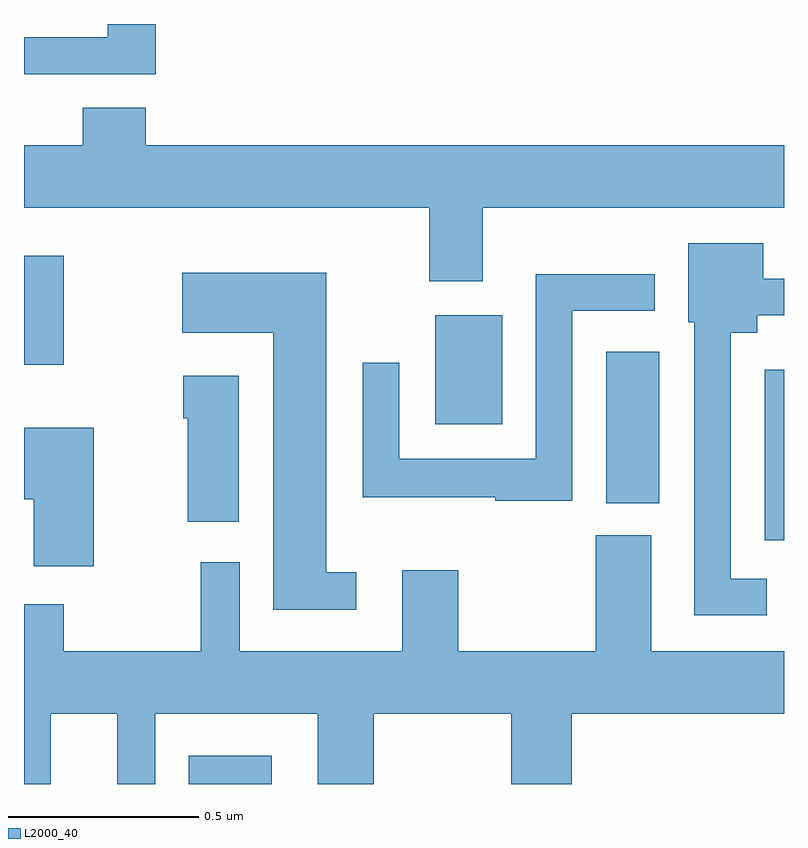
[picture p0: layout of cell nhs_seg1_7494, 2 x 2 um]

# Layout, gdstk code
import gdstk
lib = gdstk.Library(unit=1e-6, precision=1e-09)
def R(c, l, rs):  # rectangles x0, y0, x1, y1
    for r in rs: c.add(gdstk.rectangle(r[:2], r[2:], *l))
def P(c, l, *ps):  # polygons
    for p in ps: c.add(gdstk.Polygon(p, *l))
L2000_40 = (2000, 40)

nhs_seg1_7494 = lib.new_cell('nhs_seg1_7494')
R(nhs_seg1_7494, L2000_40, [(204.434,566.199,204.652,566.274), (205.949,566.841,206,567.289), (205.532,566.938,205.672,567.337), (205.082,567.146,205.258,567.433), (204,567.302,204.105,567.589)])
P(nhs_seg1_7494, L2000_40, [(204.347,568.199),(204.221,568.199),(204.221,568.164),(204,568.164),(204,568.067),(204.347,568.067)],
  [(205.207,567.716),(206,567.716),(206,567.88),(204.32,567.88),(204.32,567.979),(204.155,567.979),(204.155,567.88),(204,567.88),(204,567.716),(205.067,567.716),(205.067,567.522),(205.207,567.522)],
  [(205.954,566.739),(205.86,566.739),(205.86,567.386),(205.93,567.386),(205.93,567.432),(206,567.432),(206,567.528),(205.945,567.528),(205.945,567.622),(205.748,567.622),(205.748,567.414),(205.764,567.414),(205.764,566.643),(205.954,566.643)],
  [(204.874,566.756),(204.796,566.756),(204.796,567.544),(204.416,567.544),(204.416,567.386),(204.656,567.386),(204.656,566.658),(204.874,566.658)],
  [(205.443,567.444),(205.66,567.444),(205.66,567.541),(205.347,567.541),(205.347,567.055),(204.987,567.055),(204.987,567.307),(204.891,567.307),(204.891,566.954),(205.24,566.954),(205.24,566.944),(205.443,566.944)],
  [(204.565,567.274),(204.419,567.274),(204.419,567.161),(204.431,567.161),(204.431,566.889),(204.565,566.889)],
  [(204.184,567.136),(204,567.136),(204,566.948),(204.026,566.948),(204.026,566.772),(204.184,566.772)],
  [(204.07,566.384),(204.245,566.384),(204.245,566.199),(204.346,566.199),(204.346,566.384),(204.773,566.384),(204.773,566.199),(204.921,566.199),(204.921,566.384),(205.282,566.384),(205.282,566.199),(205.442,566.199),(205.442,566.384),(206,566.384),(206,566.548),(205.651,566.548),(205.651,566.853),(205.504,566.853),(205.504,566.548),(205.143,566.548),(205.143,566.761),(204.995,566.761),(204.995,566.548),(204.568,566.548),(204.568,566.782),(204.465,566.782),(204.465,566.548),(204.105,566.548),(204.105,566.672),(204,566.672),(204,566.199),(204.07,566.199)])

lib.write_gds('nhs_seg1_7494.gds')
